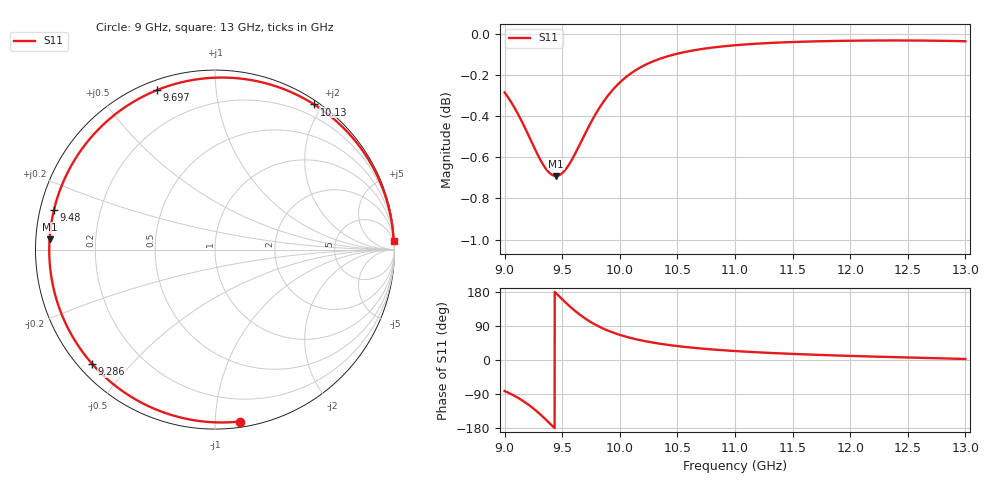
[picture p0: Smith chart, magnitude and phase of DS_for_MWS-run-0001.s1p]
! TOUCHSTONE file generated by CST DESIGN STUDIO
! Date and time: Wed Feb  5 13:42:13 2025
! Project name: C:\Work\MatlabApps\UnitCellOptimizationMatlab\CST\unitcell.cst
! Tree item: Tasks\Sweep1\SPara1\S-Parameters
! Header version: 2024
! Port assignment regex: !\s*Touchstone port\s*([0-9]+)\s*=\s*(CST MWS port|CST DES external port|CST DES block port)\s*(.+)\s* \(\"(.*)\"\)(\s*mode\s*([0-9]+))?.*
! Touchstone port assignment:
! Touchstone port 1 = CST DES external port 1 ("")
# GHz S MA R 50
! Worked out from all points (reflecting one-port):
!   4001 points, 9 GHz to 13 GHz, reference 50 ohm
!   lowest |S11| = -0.7 dB at 9.446 GHz (marker M1), VSWR 25.17, Z = 1.99 + j1.52 ohm
!   phase of S11 starts at -82 deg and turns -275 deg over the sweep
!   S11 on the Smith chart (normalised r, x): 9 GHz: 0.04, -1.15; 9.286 GHz: 0.04, -0.39; 9.48 GHz: 0.04, +0.12; 9.697 GHz: 0.04, +0.70; 10.13 GHz: 0.05, +1.89; 13 GHz: 4, +41
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9  0.9677 -81.9
9.087  0.9594 -94.7
9.159  0.951 -107.8
9.224  0.9426 -121.8
9.286  0.9348 -137.1
9.331  0.9298 -149.4
9.371  0.9263 -160.9
9.409  0.9242 -172.3
9.446  0.9236 176.5
9.48  0.9241 166.2
9.5  0.925 160.3
9.551  0.9287 145.6
9.599  0.9336 132.8
9.647  0.9393 121.0
9.697  0.9454 110.0
9.755  0.9523 98.9
9.821  0.9592 88.0
9.908  0.9669 76.3
10  0.9731 66.4
10.129  0.9795 55.6
10.296  0.9849 45.5
10.5  0.989 36.7
10.723  0.9916 29.8
11  0.9936 23.7
11.5  0.9954 16.1
12  0.9962 10.8
12.5  0.9963 6.6
13  0.9959 2.8
